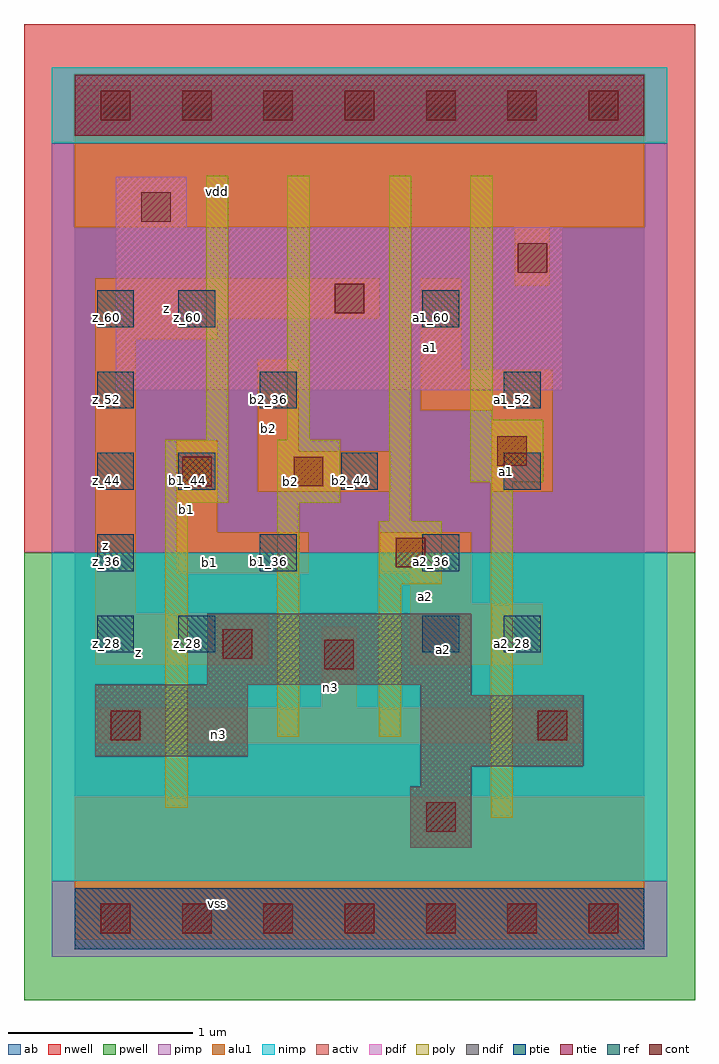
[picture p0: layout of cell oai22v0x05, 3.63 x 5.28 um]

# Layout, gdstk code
import gdstk
lib = gdstk.Library(unit=1e-6, precision=2.5e-09)
def R(c, l, rs):  # rectangles x0, y0, x1, y1
    for r in rs: c.add(gdstk.rectangle(r[:2], r[2:], *l))
def A(c, l, x, y, w, h, nx, ny, dx, dy):  # array of equal rectangles
    R(c, l, [(x+i*dx, y+j*dy, x+i*dx+w, y+j*dy+h) for i in range(nx) for j in range(ny)])
ndif = (3, 0)
pdif = (4, 0)
ntie = (5, 0)
ptie = (6, 0)
ref = (24, 0)
cont = (25, 0)
pwell = (41, 0)
nwell = (42, 0)
activ = (43, 0)
pimp = (44, 0)
nimp = (45, 0)
poly = (46, 0)
alu1 = (49, 0)
ab = (63, 0)

oai22v0x05 = lib.new_cell('oai22v0x05')
R(oai22v0x05, ndif, [(1.815,0.385,2.145,0.715), (1.87,0.715,2.145,0.825), (1.87,0.825,2.75,1.21), (0.11,0.88,0.935,1.265), (1.87,1.21,2.145,1.265), (0.715,1.265,2.145,1.65)])
R(oai22v0x05, pdif, [(0.22,2.86,2.64,3.74), (0.22,3.74,0.605,4.015)])
R(oai22v0x05, ntie, [(0,4.235,3.08,4.565)])
R(oai22v0x05, ptie, [(0,-0.165,3.08,0.165)])
A(oai22v0x05, ref, 0.12, 1.88, 0.2, 0.2, 3, 1, 0.88, 0)
A(oai22v0x05, ref, 0.12, 2.32, 0.2, 0.2, 1, 3, 0, 0.44)
A(oai22v0x05, ref, 0.56, 2.32, 0.2, 0.2, 3, 1, 0.88, 0)
R(oai22v0x05, ref, [(0.12,1.44,0.32,1.64), (0.56,1.44,0.76,1.64), (1.88,1.44,2.08,1.64), (2.32,1.44,2.52,1.64), (1,2.76,1.2,2.96), (2.32,2.76,2.52,2.96), (0.56,3.2,0.76,3.4), (1.88,3.2,2.08,3.4)])
A(oai22v0x05, cont, 0.14, -0.08, 0.16, 0.16, 7, 2, 0.44, 4.4)
R(oai22v0x05, cont, [(1.9,0.47,2.06,0.63), (0.195,0.965,0.355,1.125), (2.505,0.965,2.665,1.125), (1.35,1.35,1.51,1.51), (0.8,1.405,0.96,1.565), (1.735,1.9,1.895,2.06), (0.58,2.34,0.74,2.5), (1.185,2.34,1.345,2.5), (2.285,2.45,2.445,2.61), (1.405,3.275,1.565,3.435), (2.395,3.495,2.555,3.655), (0.36,3.77,0.52,3.93)])
R(oai22v0x05, pwell, [(-0.275,-0.44,3.355,1.98)])
R(oai22v0x05, nwell, [(-0.275,1.98,3.355,4.84)])
R(oai22v0x05, activ, [(0,-0.165,3.08,0.165), (1.815,0.385,2.145,0.715), (1.87,0.715,2.145,0.825), (1.87,0.825,2.75,1.21), (0.11,0.88,0.935,1.265), (1.87,1.21,2.145,1.265), (0.715,1.265,2.145,1.65), (0.22,2.86,2.64,3.74), (0.22,3.74,0.605,4.015), (0,4.235,3.08,4.565)])
R(oai22v0x05, pimp, [(-0.125,-0.205,3.205,0.205), (-0.125,1.98,3.205,4.195)])
R(oai22v0x05, nimp, [(-0.125,0.205,3.205,1.98), (-0.125,4.195,3.205,4.605)])
R(oai22v0x05, poly, [(2.25,0.545,2.37,2.36), (0.49,0.6,0.61,2.25), (1.095,0.985,1.215,2.25), (1.645,0.985,1.765,1.81), (1.645,1.81,1.985,2.15), (1.7,2.15,1.82,4.02), (0.49,2.25,0.83,2.59), (1.095,2.25,1.435,2.59), (2.14,2.36,2.535,2.7), (0.71,2.59,0.83,4.02), (1.15,2.59,1.27,4.02), (2.14,2.7,2.26,4.02)])
R(oai22v0x05, alu1, [(0,-0.11,3.08,0.66), (0.125,0.95,2.735,1.14), (1.335,1.14,1.525,1.58), (0.11,1.375,1.045,1.65), (1.815,1.375,2.53,1.705), (0.11,1.65,0.33,3.135), (1.815,1.705,2.145,1.87), (0.55,1.87,1.265,2.09), (1.65,1.87,2.145,2.09), (0.55,2.09,0.77,2.585), (0.99,2.31,1.705,2.53), (2.255,2.31,2.585,2.75), (0.99,2.53,1.21,3.025), (1.87,2.75,2.585,2.97), (1.87,2.97,2.09,3.465), (0.11,3.135,0.77,3.245), (0.11,3.245,1.65,3.465), (2.38,3.425,2.57,3.74), (0,3.74,3.08,4.51)])
R(oai22v0x05, ab, [(0,0,3.08,4.4)])
oai22v0x05.add(gdstk.Label('vss', (0.77,0.0825), layer=49, texttype=0))
oai22v0x05.add(gdstk.Label('n3', (0.7775,0.9975), layer=49, texttype=0))
oai22v0x05.add(gdstk.Label('a2', (1.9925,1.4575), layer=49, texttype=0))
oai22v0x05.add(gdstk.Label('n3', (1.3825,1.25), layer=49, texttype=0))
oai22v0x05.add(gdstk.Label('z', (0.3425,1.4425), layer=49, texttype=0))
oai22v0x05.add(gdstk.Label('a2', (1.8975,1.745), layer=49, texttype=0))
oai22v0x05.add(gdstk.Label('b1', (0.7275,1.925), layer=49, texttype=0))
oai22v0x05.add(gdstk.Label('a1', (2.3375,2.42), layer=49, texttype=0))
oai22v0x05.add(gdstk.Label('b2', (1.1675,2.365), layer=49, texttype=0))
oai22v0x05.add(gdstk.Label('a1', (1.925,3.0925), layer=49, texttype=0))
oai22v0x05.add(gdstk.Label('b2', (1.045,2.6525), layer=49, texttype=0))
oai22v0x05.add(gdstk.Label('b1', (0.605,2.2125), layer=49, texttype=0))
oai22v0x05.add(gdstk.Label('z', (0.165,2.02), layer=49, texttype=0))
oai22v0x05.add(gdstk.Label('z', (0.495,3.3), layer=49, texttype=0))
oai22v0x05.add(gdstk.Label('vdd', (0.77,3.9325), layer=49, texttype=0))
oai22v0x05.add(gdstk.Label('z_28', (0.61,1.49), layer=24, texttype=0))
oai22v0x05.add(gdstk.Label('b1_44', (0.61,2.37), layer=24, texttype=0))
oai22v0x05.add(gdstk.Label('z_60', (0.61,3.25), layer=24, texttype=0))
oai22v0x05.add(gdstk.Label('b1_36', (1.05,1.93), layer=24, texttype=0))
oai22v0x05.add(gdstk.Label('b2_36', (1.05,2.81), layer=24, texttype=0))
oai22v0x05.add(gdstk.Label('b2_44', (1.49,2.37), layer=24, texttype=0))
oai22v0x05.add(gdstk.Label('a2_28', (1.93,1.49), layer=24, texttype=0))
oai22v0x05.add(gdstk.Label('a2_36', (1.93,1.93), layer=24, texttype=0))
oai22v0x05.add(gdstk.Label('a1_60', (1.93,3.25), layer=24, texttype=0))
oai22v0x05.add(gdstk.Label('z_28', (0.17,1.49), layer=24, texttype=0))
oai22v0x05.add(gdstk.Label('z_36', (0.17,1.93), layer=24, texttype=0))
oai22v0x05.add(gdstk.Label('z_44', (0.17,2.37), layer=24, texttype=0))
oai22v0x05.add(gdstk.Label('z_52', (0.17,2.81), layer=24, texttype=0))
oai22v0x05.add(gdstk.Label('z_60', (0.17,3.25), layer=24, texttype=0))
oai22v0x05.add(gdstk.Label('a2_28', (2.37,1.49), layer=24, texttype=0))
oai22v0x05.add(gdstk.Label('a1_44', (2.37,2.37), layer=24, texttype=0))
oai22v0x05.add(gdstk.Label('a1_52', (2.37,2.81), layer=24, texttype=0))

lib.write_gds('oai22v0x05.gds')
